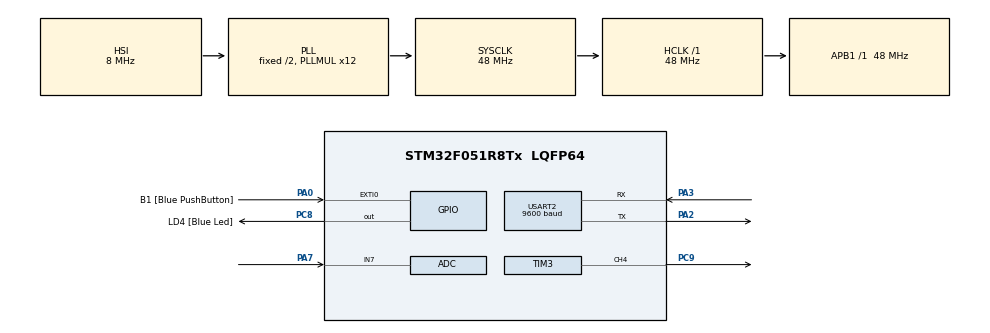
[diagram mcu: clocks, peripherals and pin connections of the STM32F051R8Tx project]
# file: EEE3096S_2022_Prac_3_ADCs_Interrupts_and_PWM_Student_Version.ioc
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Dma.ADC.1.Direction=DMA_PERIPH_TO_MEMORY
Dma.ADC.1.Instance=DMA1_Channel1
Dma.ADC.1.MemDataAlignment=DMA_MDATAALIGN_HALFWORD
Dma.ADC.1.MemInc=DMA_MINC_ENABLE
Dma.ADC.1.Mode=DMA_NORMAL
Dma.ADC.1.PeriphDataAlignment=DMA_PDATAALIGN_HALFWORD
Dma.ADC.1.PeriphInc=DMA_PINC_DISABLE
Dma.ADC.1.Priority=DMA_PRIORITY_LOW
Dma.Request0=USART2_TX
Dma.Request1=ADC
Dma.USART2_TX.0.Direction=DMA_MEMORY_TO_PERIPH
Dma.USART2_TX.0.Instance=DMA1_Channel4
Dma.USART2_TX.0.MemDataAlignment=DMA_MDATAALIGN_BYTE
Dma.USART2_TX.0.MemInc=DMA_MINC_ENABLE
Dma.USART2_TX.0.Mode=DMA_NORMAL
Dma.USART2_TX.0.PeriphDataAlignment=DMA_PDATAALIGN_BYTE
Dma.USART2_TX.0.PeriphInc=DMA_PINC_DISABLE
Dma.USART2_TX.0.Priority=DMA_PRIORITY_LOW
Mcu.Family=STM32F0
Mcu.Name=STM32F051R8Tx
Mcu.Package=LQFP64
NVIC.ADC1_COMP_IRQn=true\:0\:0\:false\:false\:true\:true\:true\:true
NVIC.DMA1_Channel1_IRQn=true\:0\:0\:false\:false\:true\:false\:true\:true
NVIC.DMA1_Channel4_5_IRQn=true\:0\:0\:false\:false\:true\:false\:true\:true
NVIC.EXTI0_1_IRQn=true\:0\:0\:false\:false\:true\:true\:true\:true
NVIC.USART2_IRQn=true\:0\:0\:false\:false\:true\:true\:true\:true
PA0.GPIO_Label=B1 [Blue PushButton]
PA0.GPIO_ModeDefaultEXTI=GPIO_MODE_IT_FALLING
PA0.Signal=GPXTI0
PA13.GPIO_Label=SWDIO
PA13.Mode=Serial_Wire
PA13.Signal=SYS_SWDIO
PA14.GPIO_Label=SWCLK
PA14.Mode=Serial_Wire
PA14.Signal=SYS_SWCLK
PA2.Mode=Asynchronous
PA2.Signal=USART2_TX
PA3.Mode=Asynchronous
PA3.Signal=USART2_RX
PA7.Mode=IN7
PA7.Signal=ADC_IN7
PB6.Signal=I2C1_SCL
PB7.Signal=I2C1_SDA
PC8.GPIO_Label=LD4 [Blue Led]
PC8.Signal=GPIO_Output
PC9.Signal=S_TIM3_CH4
PF0-OSC_IN.Mode=HSE-External-Oscillator
PF0-OSC_IN.Signal=RCC_OSC_IN
PF1-OSC_OUT.Mode=HSE-External-Oscillator
PF1-OSC_OUT.Signal=RCC_OSC_OUT
ProjectManager.HeapSize=0x200
ProjectManager.StackSize=0x400
ProjectManager.TargetToolchain=STM32CubeIDE
RCC.AHBFreq_Value=48000000
RCC.APB1Freq_Value=48000000
RCC.APB1TimFreq_Value=48000000
RCC.HCLKFreq_Value=48000000
RCC.PLLMUL=RCC_PLL_MUL12
RCC.SYSCLKFreq_VALUE=48000000
RCC.SYSCLKSource=RCC_SYSCLKSOURCE_PLLCLK
SH.S_TIM3_CH4.0=TIM3_CH4,PWM Generation4 CH4
TIM3.AutoReloadPreload=TIM_AUTORELOAD_PRELOAD_ENABLE
TIM3.Channel-PWM\ Generation4\ CH4=TIM_CHANNEL_4
TIM3.Period=47999
USART2.BaudRate=9600
USART2.VirtualMode-Asynchronous=VM_ASYNC
VP_TIM3_VS_ClockSourceINT.Mode=Internal
board=STM32F0DISCOVERY

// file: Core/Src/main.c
/* USER CODE BEGIN Header */
/**
*******************************************************
Info:		STM32 ADCs, GPIO Interrupts and PWM with HAL
Author:		Amaan Vally
*******************************************************
In this practical you will learn to use the ADC on the STM32 using the HAL.
Here, we will be measuring the voltage on a potentiometer and using its value
to adjust the brightness of the on board LEDs. We set up an interrupt to switch the
display between the blue and green LEDs.

Code is also provided to send data from the STM32 to other devices using UART protocol
by using HAL. You will need Putty or a Python script to read from the serial port on your PC.

UART Connections are as follows: 5V->5V GND->GND RXD->PA2 TXD->PA3(unused).
Open device manager and go to Ports. Plug in the USB connector with the STM powered on.
Check the port number (COMx). Open up Putty and create a new Serial session on that COMx
with baud rate of 9600.
  ******************************************************************************
  */
/* USER CODE END Header */
#include "main.h"

 ADC_HandleTypeDef hadc;
DMA_HandleTypeDef hdma_adc;

TIM_HandleTypeDef htim3;

UART_HandleTypeDef huart2;
DMA_HandleTypeDef hdma_usart2_tx;

/* USER CODE BEGIN PV */
char buffer[10];

//TO DO:
//TASK 1
//Create global variables for debouncing and delay interval
uint32_t delay=1000;
uint32_t bounce = 0;
int ccr_val;

/* USER CODE END PV */

void SystemClock_Config(void);
static void MX_GPIO_Init(void);
static void MX_DMA_Init(void);
static void MX_USART2_UART_Init(void);
static void MX_ADC_Init(void);
static void MX_TIM3_Init(void);
/* USER CODE BEGIN PFP */
void EXTI0_1_IRQHandler(void);
uint32_t pollADC(void);
uint32_t ADCtoCRR(uint32_t adc_val);

/* USER CODE END PFP */

int main(void)
{

  /* MCU Configuration--------------------------------------------------------*/

  /* Reset of all peripherals, Initializes the Flash interface and the Systick. */
  HAL_Init();

  /* Configure the system clock */
  SystemClock_Config();

  /* Initialize all configured peripherals */
  MX_GPIO_Init();
  MX_DMA_Init();
  MX_USART2_UART_Init();
  MX_ADC_Init();
  MX_TIM3_Init();
  /* USER CODE BEGIN 2 */
  void debugPrintln(UART_HandleTypeDef *uart_handle,char _out[])
  {
  	HAL_GPIO_TogglePin(GPIOC, GPIO_PIN_8);
  	HAL_UART_Transmit(uart_handle, (uint8_t *) _out,strlen(_out), 60);
  	char newline[2] = "\r\n";
  	HAL_UART_Transmit(uart_handle, (uint8_t *)newline, 2, 10);

  }
  //TO DO:
  //Create variables needed in while loop
  uint32_t AdcVal;
  uint32_t CrrVal;

  HAL_TIM_PWM_Start(&htim3, TIM_CHANNEL_4); //Start the PWM on TIM3 Channel 4 (Green LED)
  /* USER CODE END 2 */

  /* Infinite loop */
  /* USER CODE BEGIN WHILE */
  while (1)
  {

	 	 //HAL_UART_Transmit(&huart2, str, sizeof(str), 1000);

	  HAL_GPIO_TogglePin(GPIOC, GPIO_PIN_8); // Toggle blue LED
	  //TO DO:
	  //TASK 2
	  //Test your pollADC function and display via UART
	      AdcVal = pollADC();
	 	  sprintf(buffer, "%6d", AdcVal);
	 	  debugPrintln(&huart2, buffer);

	  //TASK 3
	  //Test your ADCtoCRR function. Display CRR value via UART
	 	  CrrVal = ADCtoCRR(AdcVal);
	 	  sprintf(buffer, "%6d", CrrVal);
	 	  debugPrintln(&huart2, buffer);

	  //TASK 4
	  //Complete rest of implementation
	 	 __HAL_TIM_SetCompare(&htim3, TIM_CHANNEL_4, ADCtoCRR(AdcVal));

	  HAL_Delay (delay);

    /* USER CODE END WHILE */

  }
}

void SystemClock_Config(void)
{
  RCC_OscInitTypeDef RCC_OscInitStruct = {0};
  RCC_ClkInitTypeDef RCC_ClkInitStruct = {0};

  /** Initializes the RCC Oscillators according to the specified parameters
  * in the RCC_OscInitTypeDef structure.
  */
  RCC_OscInitStruct.OscillatorType = RCC_OSCILLATORTYPE_HSI|RCC_OSCILLATORTYPE_HSI14;
  RCC_OscInitStruct.HSIState = RCC_HSI_ON;
  RCC_OscInitStruct.HSI14State = RCC_HSI14_ON;
  RCC_OscInitStruct.HSICalibrationValue = RCC_HSICALIBRATION_DEFAULT;
  RCC_OscInitStruct.HSI14CalibrationValue = 16;
  RCC_OscInitStruct.PLL.PLLState = RCC_PLL_ON;
  RCC_OscInitStruct.PLL.PLLSource = RCC_PLLSOURCE_HSI;
  RCC_OscInitStruct.PLL.PLLMUL = RCC_PLL_MUL12;
  RCC_OscInitStruct.PLL.PREDIV = RCC_PREDIV_DIV1;
  if (HAL_RCC_OscConfig(&RCC_OscInitStruct) != HAL_OK)
  {
    Error_Handler();
  }

  /** Initializes the CPU, AHB and APB buses clocks
  */
  RCC_ClkInitStruct.ClockType = RCC_CLOCKTYPE_HCLK|RCC_CLOCKTYPE_SYSCLK
                              |RCC_CLOCKTYPE_PCLK1;
  RCC_ClkInitStruct.SYSCLKSource = RCC_SYSCLKSOURCE_PLLCLK;
  RCC_ClkInitStruct.AHBCLKDivider = RCC_SYSCLK_DIV1;
  RCC_ClkInitStruct.APB1CLKDivider = RCC_HCLK_DIV1;

  if (HAL_RCC_ClockConfig(&RCC_ClkInitStruct, FLASH_LATENCY_1) != HAL_OK)
  {
    Error_Handler();
  }
}

static void MX_ADC_Init(void)
{

  ADC_ChannelConfTypeDef sConfig = {0};

  /** Configure the global features of the ADC (Clock, Resolution, Data Alignment and number of conversion)
  */
  hadc.Instance = ADC1;
  hadc.Init.ClockPrescaler = ADC_CLOCK_ASYNC_DIV1;
  hadc.Init.Resolution = ADC_RESOLUTION_12B;
  hadc.Init.DataAlign = ADC_DATAALIGN_RIGHT;
  hadc.Init.ScanConvMode = ADC_SCAN_DIRECTION_FORWARD;
  hadc.Init.EOCSelection = ADC_EOC_SINGLE_CONV;
  hadc.Init.LowPowerAutoWait = DISABLE;
  hadc.Init.LowPowerAutoPowerOff = DISABLE;
  hadc.Init.ContinuousConvMode = DISABLE;
  hadc.Init.DiscontinuousConvMode = DISABLE;
  hadc.Init.ExternalTrigConv = ADC_SOFTWARE_START;
  hadc.Init.ExternalTrigConvEdge = ADC_EXTERNALTRIGCONVEDGE_NONE;
  hadc.Init.DMAContinuousRequests = DISABLE;
  hadc.Init.Overrun = ADC_OVR_DATA_PRESERVED;
  if (HAL_ADC_Init(&hadc) != HAL_OK)
  {
    Error_Handler();
  }

  /** Configure for the selected ADC regular channel to be converted.
  */
  sConfig.Channel = ADC_CHANNEL_7;
  sConfig.Rank = ADC_RANK_CHANNEL_NUMBER;
  sConfig.SamplingTime = ADC_SAMPLETIME_1CYCLE_5;
  if (HAL_ADC_ConfigChannel(&hadc, &sConfig) != HAL_OK)
  {
    Error_Handler();
  }

}

static void MX_TIM3_Init(void)
{

  TIM_ClockConfigTypeDef sClockSourceConfig = {0};
  TIM_MasterConfigTypeDef sMasterConfig = {0};
  TIM_OC_InitTypeDef sConfigOC = {0};

  htim3.Instance = TIM3;
  htim3.Init.Prescaler = 0;
  htim3.Init.CounterMode = TIM_COUNTERMODE_UP;
  htim3.Init.Period = 47999;
  htim3.Init.ClockDivision = TIM_CLOCKDIVISION_DIV1;
  htim3.Init.AutoReloadPreload = TIM_AUTORELOAD_PRELOAD_ENABLE;
  if (HAL_TIM_Base_Init(&htim3) != HAL_OK)
  {
    Error_Handler();
  }
  sClockSourceConfig.ClockSource = TIM_CLOCKSOURCE_INTERNAL;
  if (HAL_TIM_ConfigClockSource(&htim3, &sClockSourceConfig) != HAL_OK)
  {
    Error_Handler();
  }
  if (HAL_TIM_PWM_Init(&htim3) != HAL_OK)
  {
    Error_Handler();
  }
  sMasterConfig.MasterOutputTrigger = TIM_TRGO_RESET;
  sMasterConfig.MasterSlaveMode = TIM_MASTERSLAVEMODE_DISABLE;
  if (HAL_TIMEx_MasterConfigSynchronization(&htim3, &sMasterConfig) != HAL_OK)
  {
    Error_Handler();
  }
  sConfigOC.OCMode = TIM_OCMODE_PWM1;
  sConfigOC.Pulse = 0;
  sConfigOC.OCPolarity = TIM_OCPOLARITY_HIGH;
  sConfigOC.OCFastMode = TIM_OCFAST_DISABLE;
  if (HAL_TIM_PWM_ConfigChannel(&htim3, &sConfigOC, TIM_CHANNEL_4) != HAL_OK)
  {
    Error_Handler();
  }
  HAL_TIM_MspPostInit(&htim3);

}

static void MX_USART2_UART_Init(void)
{

  huart2.Instance = USART2;
  huart2.Init.BaudRate = 9600;
  huart2.Init.WordLength = UART_WORDLENGTH_8B;
  huart2.Init.StopBits = UART_STOPBITS_1;
  huart2.Init.Parity = UART_PARITY_NONE;
  huart2.Init.Mode = UART_MODE_TX_RX;
  huart2.Init.HwFlowCtl = UART_HWCONTROL_NONE;
  huart2.Init.OverSampling = UART_OVERSAMPLING_16;
  huart2.Init.OneBitSampling = UART_ONE_BIT_SAMPLE_DISABLE;
  huart2.AdvancedInit.AdvFeatureInit = UART_ADVFEATURE_NO_INIT;
  if (HAL_UART_Init(&huart2) != HAL_OK)
  {
    Error_Handler();
  }

}

static void MX_DMA_Init(void)
{

  /* DMA controller clock enable */
  __HAL_RCC_DMA1_CLK_ENABLE();

  /* DMA interrupt init */
  /* DMA1_Channel1_IRQn interrupt configuration */
  HAL_NVIC_SetPriority(DMA1_Channel1_IRQn, 0, 0);
  HAL_NVIC_EnableIRQ(DMA1_Channel1_IRQn);
  /* DMA1_Channel4_5_IRQn interrupt configuration */
  HAL_NVIC_SetPriority(DMA1_Channel4_5_IRQn, 0, 0);
  HAL_NVIC_EnableIRQ(DMA1_Channel4_5_IRQn);

}

static void MX_GPIO_Init(void)
{
  GPIO_InitTypeDef GPIO_InitStruct = {0};

  /* GPIO Ports Clock Enable */
  __HAL_RCC_GPIOF_CLK_ENABLE();
  __HAL_RCC_GPIOA_CLK_ENABLE();
  __HAL_RCC_GPIOC_CLK_ENABLE();
  __HAL_RCC_GPIOB_CLK_ENABLE();

  /*Configure GPIO pin Output Level */
  HAL_GPIO_WritePin(LD4_GPIO_Port, LD4_Pin, GPIO_PIN_RESET);

  /*Configure GPIO pin : B1_Pin */
  GPIO_InitStruct.Pin = B1_Pin;
  GPIO_InitStruct.Mode = GPIO_MODE_IT_FALLING;
  GPIO_InitStruct.Pull = GPIO_NOPULL;
  HAL_GPIO_Init(B1_GPIO_Port, &GPIO_InitStruct);

  /*Configure GPIO pin : LD4_Pin */
  GPIO_InitStruct.Pin = LD4_Pin;
  GPIO_InitStruct.Mode = GPIO_MODE_OUTPUT_PP;
  GPIO_InitStruct.Pull = GPIO_NOPULL;
  GPIO_InitStruct.Speed = GPIO_SPEED_FREQ_LOW;
  HAL_GPIO_Init(LD4_GPIO_Port, &GPIO_InitStruct);

  /*Configure GPIO pins : PB6 PB7 */
  GPIO_InitStruct.Pin = GPIO_PIN_6|GPIO_PIN_7;
  GPIO_InitStruct.Mode = GPIO_MODE_AF_OD;
  GPIO_InitStruct.Pull = GPIO_NOPULL;
  GPIO_InitStruct.Speed = GPIO_SPEED_FREQ_HIGH;
  GPIO_InitStruct.Alternate = GPIO_AF1_I2C1;
  HAL_GPIO_Init(GPIOB, &GPIO_InitStruct);

  /* EXTI interrupt init*/
  HAL_NVIC_SetPriority(EXTI0_1_IRQn, 0, 0);
  HAL_NVIC_EnableIRQ(EXTI0_1_IRQn);

}

/* USER CODE BEGIN 4 */
void EXTI0_1_IRQHandler(void)
{
	//TO DO:
	//TASK 1
	//Switch delay frequency

	if((HAL_GetTick()- bounce)>10){
		if(delay==2000)
		{
		delay=1000;
		}
		else
		{
			delay=1000;
		}
		bounce = HAL_GetTick();
	}

	HAL_GPIO_EXTI_IRQHandler(B1_Pin); // Clear interrupt flags
}

uint32_t pollADC(void){
	//TO DO:
	//TASK 2
	// Complete the function body
	HAL_ADC_Start(&hadc); //start ADC
	HAL_ADC_PollForConversion(&hadc,1000); //timeout=1s
	uint32_t val=HAL_ADC_GetValue(&hadc);
	HAL_ADC_Stop(&hadc);
	return val;
}

uint32_t ADCtoCRR(uint32_t adc_val){
	//TO DO:
	//TASK 2
	// Complete the function body
	//HINT: The CRR value for 100% DC is 47999 (DC = CRR/ARR = CRR/47999)
	//HINT: The ADC range is approx 0 - 4095
	//HINT: Scale number from 0-4096 to 0 - 47999
	return  adc_val * 47999/4096;;
}

/* USER CODE END 4 */

void Error_Handler(void)
{
  __disable_irq();
  while (1)
  {
  }
}
